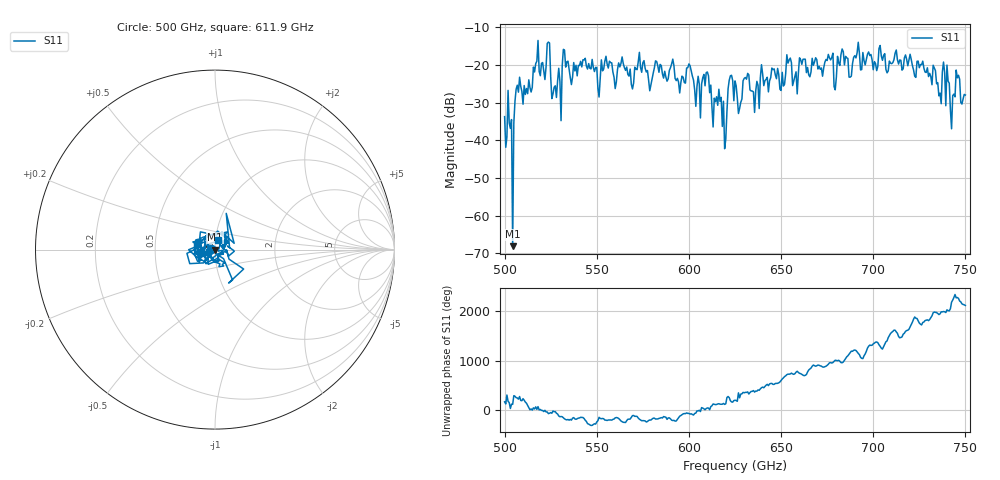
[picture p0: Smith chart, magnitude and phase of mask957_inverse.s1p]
!Created with skrf (http://scikit-rf.org).
# GHz S MA R 50.0
!freq magS11 angS11
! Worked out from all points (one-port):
!   401 points, 500 GHz to 750 GHz, reference 50 ohm
!   lowest |S11| = -68.1 dB at 504.4 GHz (marker M1), VSWR 1.00, Z = 50 + j0.0347 ohm
!   |S11| at or under -10 dB: start of sweep to end of sweep
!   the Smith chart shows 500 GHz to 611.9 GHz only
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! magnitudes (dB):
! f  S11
! 500 GHz  -33.7
! 502.5 GHz  -35.4
! 504.4 GHz  -68.1
! 506.9 GHz  -25.4
! 513.8 GHz  -26.0
! 516.9 GHz  -19.7
! 523.8 GHz  -13.9
! 526.9 GHz  -25.9
! 531.2 GHz  -20.2
! 562.5 GHz  -20.5
! 593.8 GHz  -23.6
! 605 GHz  -23.0
! 609.4 GHz  -22.0
! 619.4 GHz  -42.2
! 622.5 GHz  -22.9
! 625 GHz  -24.2
! 627.5 GHz  -31.5
! 631.2 GHz  -23.8
! 636.9 GHz  -24.4
! 656.2 GHz  -25.5
! 687.5 GHz  -23.2
! 691.2 GHz  -16.8
! 718.8 GHz  -20.2
! 735.6 GHz  -28.2
! 738.8 GHz  -22.0
! 743.1 GHz  -28.1
! 745.6 GHz  -23.4
! 750 GHz  -28.0
